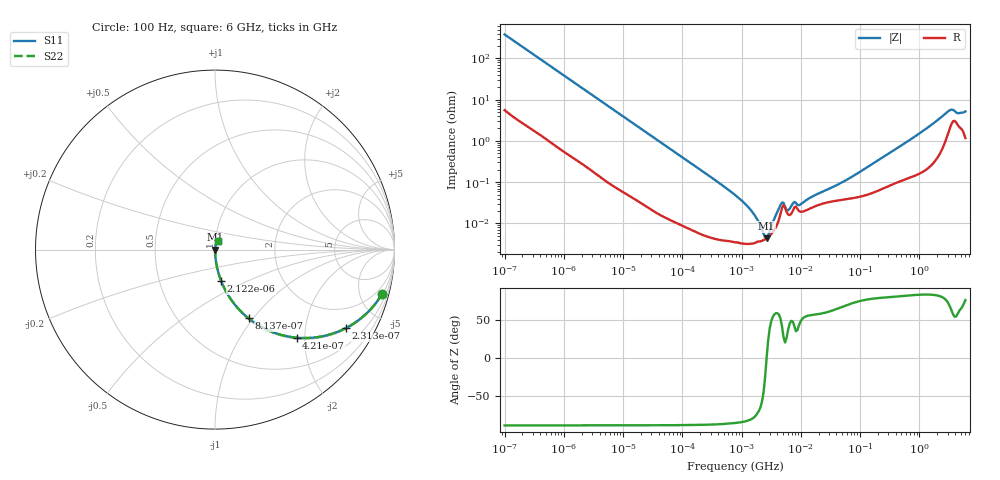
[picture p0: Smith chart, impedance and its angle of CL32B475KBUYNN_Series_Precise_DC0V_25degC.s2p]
! CL32B475KBUYNN Multilayer Ceramic Capacitor Sparameter Model
! Model Generated by Samsung Electro-Mechanics
! Samsung Sparameter Version 5.0
! Date : Jun-19-2026
! Products : Multilayer Ceramic Capacitor(General)
! Characteristics :
!  Nominal Capacitance = 4.7uF
!  Capacitance Tolerance = ¡¾10%
!  TCC = X7R(-55 ~ +125 degC.)
!  Rated Voltage = 50Vdc
!  Size = 1210(unit:inch), 3225(unit:mm)
!  Length = 3.20¡¾0.30mm
!  Width = 2.50¡¾0.20mm
!  Thickness = 1.80¡¾0.20mm
!  Reliability level = Standard
!  Lineup = Lineup Normal
!  Feature = Features Normal
!  Measurement Temperature : 25degC.
!  DC bias Value = 0V
!  Frequency : 100Hz ~ 6GHz
! External Node Assignments :
!  1  o---||---o  2
# MHz S RI R 50.0
! Freq.  Real(S11)  Im(S11)  Real(S12)  Im(S12)  Real(S21)  Im(S21)  Real(S22)  Im(S22)
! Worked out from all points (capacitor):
!   300 points, 100 Hz to 6 GHz, reference 50 ohm
!   read as one part in series: C = 4.19 uF near 106.2 Hz
!   lowest |Z| = 4.38 mohm at 2.645 MHz (marker M1)
!   series resonance near 2.646 MHz, so ESL is about 860 pH
!   S11 on the Smith chart (normalised r, x): 100 Hz: 1.11, -7.59; 231.3 Hz: 1.05, -3.30; 421 Hz: 1.03, -1.82; 813.7 Hz: 1.01, -0.95; 2.122 kHz: 1.01, -0.37; 6 GHz: 1.02, +0.10
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0.0001  0.9319 -0.2447  0.0681 0.2447  0.0681 0.2447  0.9319 -0.2447
0.00023131  0.7287 -0.4376  0.2713 0.4376  0.2713 0.4376  0.7287 -0.4376
0.0004210496  0.4548 -0.4908  0.5452 0.4908  0.5452 0.4908  0.4548 -0.4908
0.0008137405  0.1873 -0.3832  0.8127 0.3832  0.8127 0.3832  0.1873 -0.3832
0.001998454  0.0391 -0.1867  0.9609 0.1867  0.9609 0.1867  0.0391 -0.1867
0.002121818  0.035 -0.1767  0.965 0.1767  0.965 0.1767  0.035 -0.1767
0.03993819  0.000267 -0.01  0.9997 0.01  0.9997 0.01  0.000267 -0.01
0.7981464  3.47e-05 -0.000472  1 0.000472  1 0.000472  3.47e-05 -0.000472
1.368383  3.2e-05 -0.000226  1 0.000226  1 0.000226  3.2e-05 -0.000226
1.960157  3.64e-05 -9.99e-05  1 9.99e-05  1 9.99e-05  3.64e-05 -9.99e-05
2.644602  4.38e-05 -1.89e-07  1 1.89e-07  1 1.89e-07  4.38e-05 -1.89e-07
3.360592  6.13e-05 8.57e-05  0.9999 -8.57e-05  0.9999 -8.57e-05  6.13e-05 8.57e-05
4.813922  0.000238 0.000215  0.9998 -0.000215  0.9998 -0.000215  0.000238 0.000215
6.117227  0.000164 0.000127  0.9998 -0.000127  0.9998 -0.000127  0.000164 0.000127
7.773385  0.000244 0.000224  0.9998 -0.000224  0.9998 -0.000224  0.000244 0.000224
9.303617  0.000201 0.000189  0.9998 -0.000189  0.9998 -0.000189  0.000201 0.000189
15.95059  0.000246 0.000383  0.9998 -0.000383  0.9998 -0.000383  0.000246 0.000383
59.57749  0.000388 0.00107  0.9996 -0.00107  0.9996 -0.00107  0.000388 0.00107
318.7652  0.000852 0.00509  0.9991 -0.00509  0.9991 -0.00509  0.000852 0.00509
3296.191  0.0227 0.0496  0.9773 -0.0496  0.9773 -0.0496  0.0227 0.0496
4447.151  0.0253 0.0381  0.9747 -0.0381  0.9747 -0.0381  0.0253 0.0381
6000  0.0141 0.0492  0.9859 -0.0492  0.9859 -0.0492  0.0141 0.0492
